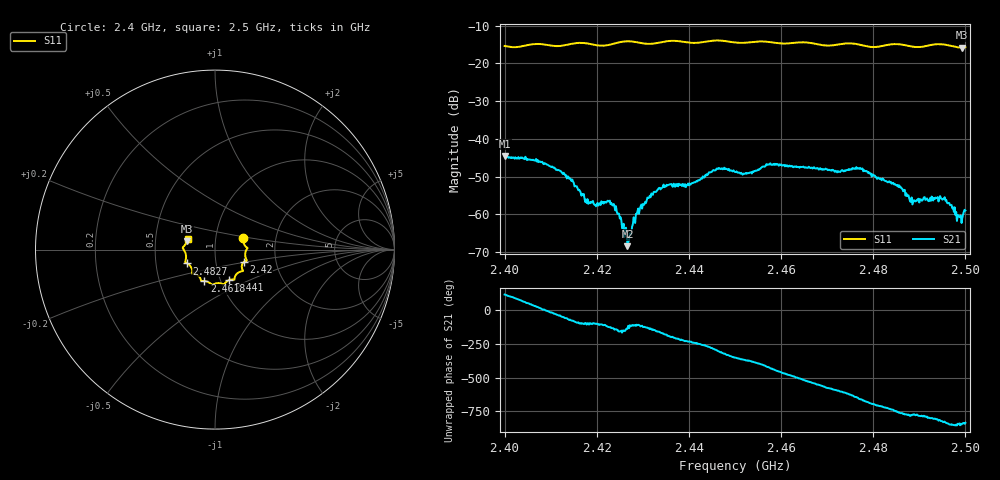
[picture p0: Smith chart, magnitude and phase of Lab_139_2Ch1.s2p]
# Hz S RI R 50
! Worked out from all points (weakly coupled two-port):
!   601 points, 2.4 GHz to 2.5 GHz, reference 50 ohm
!   highest |S21| = -44.50 dB at 2.4 GHz (marker M1); lowest = -68.4 dB at 2.4267 GHz (marker M2)
!   lowest |S11| = -15.8 dB at 2.4992 GHz (marker M3), VSWR 1.39, Z = 36.4 + j3.65 ohm
!   |S11| at or under -10 dB: start of sweep to end of sweep
!   S12 and S22 are empty: the file has one direction only
!   S11 on the Smith chart (normalised r, x): 2.4 GHz: 1.36, +0.18; 2.42 GHz: 1.36, -0.20; 2.441 GHz: 1.10, -0.39; 2.4618 GHz: 0.84, -0.30; 2.4827 GHz: 0.72, -0.12; 2.5 GHz: 0.73, +0.09
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2.4e9  0.1584 0.0629  -0.00281 0.00525  0 0  0 0
2.409167e9  0.1761 0.000449  0.00457 -0.00024  0 0  0 0
2.414167e9  0.1728 -0.0507  0.00113 -0.00277  0 0  0 0
2.416667e9  0.177 -0.061  -0.000284 -0.00175  0 0  0 0
2.42e9  0.1595 -0.0702  -0.000184 -0.00132  0 0  0 0
2.423333e9  0.1499 -0.1006  -0.00088 -0.001  0 0  0 0
2.426667e9  0.1565 -0.1189  -0.000275 -0.000262  0 0  0 0
2.427167e9  0.1557 -0.1194  -0.000192 -0.000529  0 0  0 0
2.429167e9  0.1441 -0.1216  -0.000317 -0.00097  0 0  0 0
2.433333e9  0.1113 -0.1509  -0.002 -0.00083  0 0  0 0
2.441e9  0.0788 -0.1696  -0.00135 0.00227  0 0  0 0
2.4465e9  0.0488 -0.1953  0.0023 0.00343  0 0  0 0
2.45e9  0.0284 -0.1873  0.0036 0.000626  0 0  0 0
2.461833e9  -0.0592 -0.1755  -0.00222 -0.00386  0 0  0 0
2.466667e9  -0.0788 -0.1684  -0.00415 -0.000253  0 0  0 0
2.477167e9  -0.127 -0.123  0.00199 0.00363  0 0  0 0
2.482667e9  -0.1559 -0.0772  0.00276 -3.48e-05  0 0  0 0
2.483333e9  -0.1604 -0.0751  0.00268 -0.000358  0 0  0 0
2.4885e9  -0.1612 -0.0433  0.000799 -0.0011  0 0  0 0
2.495e9  -0.1788 0.0127  -0.000344 -0.00153  0 0  0 0
2.499167e9  -0.1548 0.0488  -0.000465 -0.000613  0 0  0 0
2.5e9  -0.1522 0.0607  -0.00048 -0.00102  0 0  0 0
